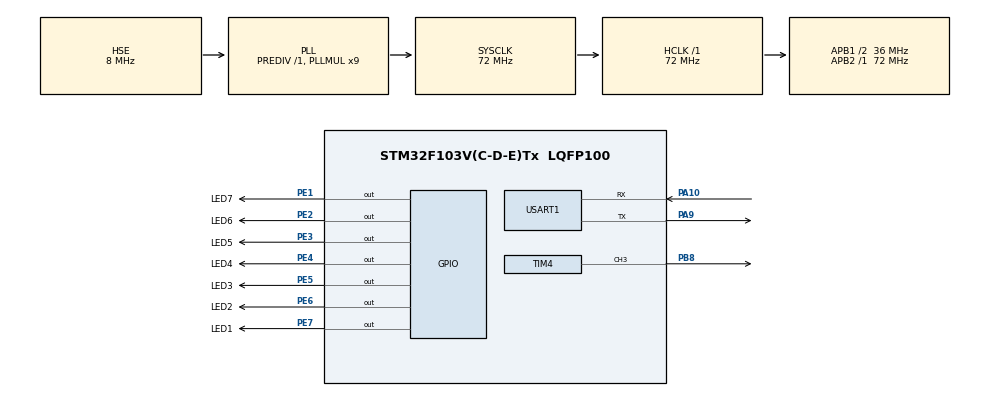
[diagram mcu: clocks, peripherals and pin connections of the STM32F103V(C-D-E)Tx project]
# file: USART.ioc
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Mcu.Family=STM32F1
Mcu.Name=STM32F103V(C-D-E)Tx
Mcu.Package=LQFP100
NVIC.PriorityGroup=NVIC_PRIORITYGROUP_4
NVIC.USART1_IRQn=true\:0\:0\:false\:false\:true\:true\:true
OSC_IN.Mode=HSE-External-Oscillator
OSC_IN.Signal=RCC_OSC_IN
OSC_OUT.Mode=HSE-External-Oscillator
OSC_OUT.Signal=RCC_OSC_OUT
PA10.Mode=Asynchronous
PA10.Signal=USART1_RX
PA13.Mode=Serial_Wire
PA13.Signal=SYS_JTMS-SWDIO
PA14.Mode=Serial_Wire
PA14.Signal=SYS_JTCK-SWCLK
PA9.Mode=Asynchronous
PA9.Signal=USART1_TX
PB8.Signal=S_TIM4_CH3
PC14-OSC32_IN.Mode=LSE-External-Oscillator
PC14-OSC32_IN.Signal=RCC_OSC32_IN
PC15-OSC32_OUT.Mode=LSE-External-Oscillator
PC15-OSC32_OUT.Signal=RCC_OSC32_OUT
PE1.GPIO_Label=LED7
PE1.Signal=GPIO_Output
PE2.GPIO_Label=LED6
PE2.Signal=GPIO_Output
PE3.GPIO_Label=LED5
PE3.Signal=GPIO_Output
PE4.GPIO_Label=LED4
PE4.Signal=GPIO_Output
PE5.GPIO_Label=LED3
PE5.Signal=GPIO_Output
PE6.GPIO_Label=LED2
PE6.Signal=GPIO_Output
PE7.GPIO_Label=LED1
PE7.Signal=GPIO_Output
ProjectManager.HeapSize=0x200
ProjectManager.StackSize=0x400
ProjectManager.TargetToolchain=MDK-ARM V5
RCC.AHBFreq_Value=72000000
RCC.APB1CLKDivider=RCC_HCLK_DIV2
RCC.APB1Freq_Value=36000000
RCC.APB1TimFreq_Value=72000000
RCC.APB2Freq_Value=72000000
RCC.APB2TimFreq_Value=72000000
RCC.HCLKFreq_Value=72000000
RCC.PLLMUL=RCC_PLL_MUL9
RCC.PLLSourceVirtual=RCC_PLLSOURCE_HSE
RCC.SYSCLKFreq_VALUE=72000000
RCC.SYSCLKSource=RCC_SYSCLKSOURCE_PLLCLK
RCC.TimSys_Div=SYSTICK_CLKSOURCE_HCLK_DIV8
RCC.USBFreq_Value=72000000
SH.S_TIM4_CH3.0=TIM4_CH3,PWM Generation3 CH3
TIM4.Channel-PWM\ Generation3\ CH3=TIM_CHANNEL_3
TIM4.OCPolarity_3=TIM_OCPOLARITY_LOW
TIM4.Period=99
TIM4.Prescaler=71
USART1.VirtualMode=VM_ASYNC
VP_TIM4_VS_ClockSourceINT.Mode=Internal
board=custom

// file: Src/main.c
/* USER CODE BEGIN Header */
/**
  ******************************************************************************
  * @file           : main.c
  * @brief          : Main program body
  ******************************************************************************
  * @attention
  *
  * <h2><center>&copy; Copyright (c) 2020 STMicroelectronics.
  * All rights reserved.</center></h2>
  *
  * This software component is licensed by ST under BSD 3-Clause license,
  * the "License"; You may not use this file except in compliance with the
  * License. You may obtain a copy of the License at:
  *                        opensource.org/licenses/BSD-3-Clause
  *
  ******************************************************************************
  */
/* USER CODE END Header */

#include "main.h"
#include "tim.h"
#include "usart.h"
#include "gpio.h"

/* USER CODE BEGIN PV */
#include "string.h"

const char stringMode1[8] = "mode_1#";
const char stringMode2[8] = "mode_2#";
const char stringMode3[8] = "mode_3#";
const char stringStop[8] = "stop#";

int8_t ledMode = -1;
uint16_t LED_vaule = 0;
uint8_t uart1RxStart = 0;
uint8_t uart1RxCounter = 0;
uint8_t uart1RxBuff[128] = {0};

/* USER CODE END PV */

void SystemClock_Config(void);

int main(void) {

    /* MCU Configuration--------------------------------------------------------*/

    /* Reset of all peripherals, Initializes the Flash interface and the Systick. */
    HAL_Init();

    /* Configure the system clock */
    SystemClock_Config();

    /* Initialize all configured peripherals */
    MX_GPIO_Init();
    MX_USART1_UART_Init();
    MX_TIM4_Init();
    /* USER CODE BEGIN 2 */
    __HAL_UART_ENABLE_IT(&huart1, UART_IT_RXNE);
    printf("hello word.\r\n");
//Æô¶¯PWM
    if (HAL_TIM_PWM_Start(&htim4, TIM_CHANNEL_3) != HAL_OK) {
        Error_Handler();
    }
    /* USER CODE END 2 */

    /* Infinite loop */
    /* USER CODE BEGIN WHILE */
    while (1) {
        if (uart1RxStart == 1) {
            if (strstr((const char *) uart1RxBuff, stringMode1) != NULL) {
                printf("I'm mode_1!\r\n");
                ledMode = 1;
                LED_vaule = 0x80;
            } else if (strstr((const char *) uart1RxBuff, stringMode2) != NULL) {
                printf("I'm mode_2!\r\n");
                ledMode = 2;
                LED_vaule = 0x01;
            } else if (strstr((const char *) uart1RxBuff, stringMode3) != NULL) {
                printf("I'm mode_3!\r\n");
                __HAL_TIM_SET_COMPARE(&htim4, TIM_CHANNEL_3, 50);
            } else if (strstr((const char *) uart1RxBuff, stringStop) != NULL) {
                printf("I'm stop!\r\n");
                ledMode = 0;
                LED_vaule = 0;
            }

            uart1RxStart = 0;
            uart1RxCounter = 0;
            memset(uart1RxBuff, 0, 128);
        }

        HAL_GPIO_WritePin(GPIOE, 0xff, GPIO_PIN_SET);
        HAL_GPIO_WritePin(GPIOE, LED_vaule, GPIO_PIN_RESET);
        HAL_Delay(1000);
        switch (ledMode) {
            case 1:
                LED_vaule = LED_vaule >> 1;
                if (LED_vaule == 0) {
                    LED_vaule = 0x80;
                }
                break;
            case 2:
                LED_vaule = LED_vaule << 1;
                if (LED_vaule == 0x100) {
                    LED_vaule = 0x01;
                }
                break;
            case 0:
                LED_vaule = 0;
                break;
        }

        /* USER CODE END WHILE */

    }
}

void SystemClock_Config(void) {
    RCC_OscInitTypeDef RCC_OscInitStruct = {0};
    RCC_ClkInitTypeDef RCC_ClkInitStruct = {0};

    /** Initializes the CPU, AHB and APB busses clocks
    */
    RCC_OscInitStruct.OscillatorType = RCC_OSCILLATORTYPE_HSE;
    RCC_OscInitStruct.HSEState = RCC_HSE_ON;
    RCC_OscInitStruct.HSEPredivValue = RCC_HSE_PREDIV_DIV1;
    RCC_OscInitStruct.HSIState = RCC_HSI_ON;
    RCC_OscInitStruct.PLL.PLLState = RCC_PLL_ON;
    RCC_OscInitStruct.PLL.PLLSource = RCC_PLLSOURCE_HSE;
    RCC_OscInitStruct.PLL.PLLMUL = RCC_PLL_MUL9;
    if (HAL_RCC_OscConfig(&RCC_OscInitStruct) != HAL_OK) {
        Error_Handler();
    }
    /** Initializes the CPU, AHB and APB busses clocks
    */
    RCC_ClkInitStruct.ClockType = RCC_CLOCKTYPE_HCLK | RCC_CLOCKTYPE_SYSCLK
                                  | RCC_CLOCKTYPE_PCLK1 | RCC_CLOCKTYPE_PCLK2;
    RCC_ClkInitStruct.SYSCLKSource = RCC_SYSCLKSOURCE_PLLCLK;
    RCC_ClkInitStruct.AHBCLKDivider = RCC_SYSCLK_DIV1;
    RCC_ClkInitStruct.APB1CLKDivider = RCC_HCLK_DIV2;
    RCC_ClkInitStruct.APB2CLKDivider = RCC_HCLK_DIV1;

    if (HAL_RCC_ClockConfig(&RCC_ClkInitStruct, FLASH_LATENCY_2) != HAL_OK) {
        Error_Handler();
    }
}

/* USER CODE BEGIN 4 */
void USER_UART_IRQHandler(UART_HandleTypeDef *huart) {
    if (__HAL_UART_GET_FLAG(&huart1, UART_FLAG_RXNE) != RESET) {
        __HAL_UART_ENABLE_IT(&huart1, UART_IT_IDLE);
        uart1RxBuff[uart1RxCounter] = (uint8_t) (huart1.Instance->DR & (uint8_t) 0x00ff);
        uart1RxCounter++;
        __HAL_UART_CLEAR_FLAG(&huart1, UART_FLAG_RXNE);
    }
    if (__HAL_UART_GET_FLAG(&huart1, UART_FLAG_IDLE) != RESET) {
        __HAL_UART_DISABLE_IT(&huart1, UART_IT_IDLE);
        uart1RxStart = 1;
    }

}
/* USER CODE END 4 */

void Error_Handler(void) {
}

/************************ (C) COPYRIGHT STMicroelectronics *****END OF FILE****/
